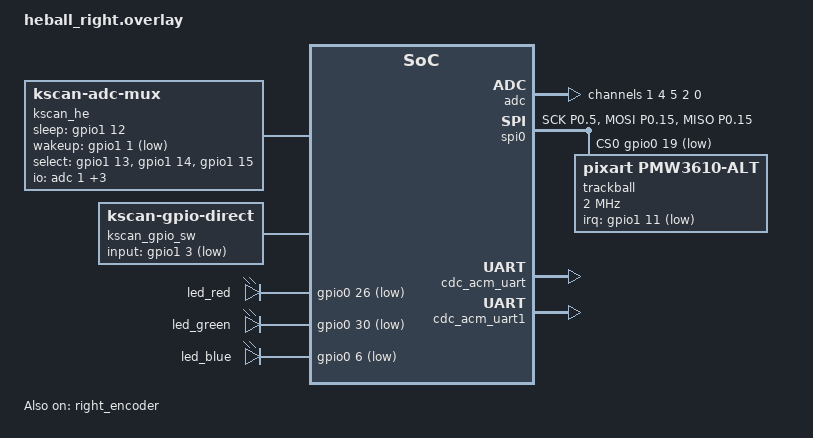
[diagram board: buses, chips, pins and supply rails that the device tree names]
#include "heball.dtsi"
#include <input/processors.dtsi>
#include <dt-bindings/zmk/input_transform.h>
#include <input/processors/runtime-input-processor.dtsi>
#include <behaviors/battery_history_request.dtsi>

/* Right side col-offset: local col 0-24 → global col 28-52 */
&default_transform {
    col-offset = <28>;
};

/* Enable ADC and define channels */
&adc {
    #address-cells = <1>;
    #size-cells = <0>;
    status = "okay";

    /* AM5: MUX_OUT_1: D1 = P0.03 = AIN1 */
    channel@1 {
        reg = <1>;
        zephyr,gain = "ADC_GAIN_1_6";
        zephyr,reference = "ADC_REF_INTERNAL";
        zephyr,acquisition-time = <ADC_ACQ_TIME_DEFAULT>;
        zephyr,input-positive = <NRF_SAADC_AIN1>;
        zephyr,resolution = <12>;
    };

    /* AM6: MUX_OUT_2: D2 = P0.28 = AIN4 */
    channel@4 {
        reg = <4>;
        zephyr,gain = "ADC_GAIN_1_6";
        zephyr,reference = "ADC_REF_INTERNAL";
        zephyr,acquisition-time = <ADC_ACQ_TIME_DEFAULT>;
        zephyr,input-positive = <NRF_SAADC_AIN4>;
        zephyr,resolution = <12>;
    };

    /* AM7: MUX_OUT_3: D3 = P0.29 = AIN5 */
    channel@5 {
        reg = <5>;
        zephyr,gain = "ADC_GAIN_1_6";
        zephyr,reference = "ADC_REF_INTERNAL";
        zephyr,acquisition-time = <ADC_ACQ_TIME_DEFAULT>;
        zephyr,input-positive = <NRF_SAADC_AIN5>;
        zephyr,resolution = <12>;
    };

    /* AM8: MUX_OUT_4: P0.04 = AIN2 */
    channel@2 {
        reg = <2>;
        zephyr,gain = "ADC_GAIN_1_6";
        zephyr,reference = "ADC_REF_INTERNAL";
        zephyr,acquisition-time = <ADC_ACQ_TIME_DEFAULT>;
        zephyr,input-positive = <NRF_SAADC_AIN2>;
        zephyr,resolution = <12>;
    };

    /* Battery voltage monitoring: P0.02 = AIN0 */
    channel@0 {
        reg = <0>;
        zephyr,gain = "ADC_GAIN_1_6";
        zephyr,reference = "ADC_REF_INTERNAL";
        zephyr,acquisition-time = <ADC_ACQ_TIME_DEFAULT>;
        zephyr,input-positive = <NRF_SAADC_AIN0>;
        zephyr,resolution = <12>;
    };
};

/ {
    chosen {
        zephyr,console = &cdc_acm_uart;
    };

    kscan_he: kscan_he {
        compatible = "zmk,kscan-adc-mux";
        status = "okay";

        /* SC4823 sleep/wakeup control */
        sleep-gpios = <&gpio1 12 GPIO_ACTIVE_HIGH>;   /* P1.12 → HE_SLEEP */
        wakeup-gpios = <&gpio1 1 GPIO_ACTIVE_LOW>;    /* P1.01 → HE_AWAKE */

        /* MUX select lines: D8=P1.13(S0), D9=P1.14(S1), D10=P1.15(S2) */
        select-gpios = <&gpio1 13 GPIO_ACTIVE_HIGH>,
                       <&gpio1 14 GPIO_ACTIVE_HIGH>,
                       <&gpio1 15 GPIO_ACTIVE_HIGH>;

        /* ADC inputs: AIN1(AM5), AIN4(AM6), AIN5(AM7), AIN2(AM8) */
        io-channels = <&adc 1>, <&adc 4>, <&adc 5>, <&adc 2>;

        num-keys = <24>;
        scan-period-ms = <8>;
        idle-scan-period-ms = <40>;
        idle-enter-ms = <300>;
        idle-wakeup-delta = <30>;
        settle-us = <20>;
        invert-adc;
        press-threshold = <60>;
        release-threshold = <30>;
        debounce-ms = <5>;
        initial-adc-range = <300>;
        calibration-duration-ms = <500>;

        /*
         * mux_map: 8 addresses x 4 ADC channels = 32 entries
         * value = local key index (0-23), 0xFF = unconnected (GND)
         * HE28=0, HE29=1, ..., HE51=23
         *
         * addr  AM5(adc0)  AM6(adc1)  AM7(adc2)  AM8(adc3)
         *  0    HE30→ 2   HE36→ 8   HE43→15   GND→0xFF
         *  1    HE29→ 1   HE35→ 7   HE42→14   HE49→21
         *  2    HE28→ 0   HE34→ 6   HE41→13   HE48→20
         *  3    GND→0xFF  HE37→ 9   HE44→16   GND→0xFF
         *  4    HE31→ 3   HE38→10   HE45→17   GND→0xFF
         *  5    GND→0xFF  GND→0xFF  GND→0xFF  GND→0xFF
         *  6    HE32→ 4   HE39→11   HE46→18   HE50→22
         *  7    HE33→ 5   HE40→12   HE47→19   HE51→23
         */
        mux_map = <
             2    8   15 0xFF     /* addr0: AM8=GND */
             1    7   14   21     /* addr1: AM8=HE49 */
             0    6   13   20     /* addr2: AM8=HE48 */
          0xFF    9   16 0xFF     /* addr3: AM8=GND */
             3   10   17 0xFF     /* addr4: AM8=GND */
          0xFF 0xFF 0xFF 0xFF     /* addr5: all GND */
             4   11   18   22     /* addr6: AM8=HE50 */
             5   12   19   23     /* addr7: AM8=HE51 */
        >;
    };

    trackball_listener: trackball_listener {
        compatible = "zmk,input-listener";
        status = "disabled";
    };

    /* Encoder push button SW_R on P1.03 (active-low, internal pull-up) */
    kscan_gpio_sw: kscan_gpio_sw {
        compatible = "zmk,kscan-gpio-direct";
        input-gpios = <&gpio1 3 (GPIO_ACTIVE_LOW | GPIO_PULL_UP)>;
        wakeup-source;
    };

    /* Composite kscan: HE keys (col 0-23) + SW_R push button (col 24) */
    kscan_composite: kscan_composite {
        compatible = "zmk,kscan-composite";
        rows = <1>;
        columns = <25>;

        he {
            kscan = <&kscan_he>;
        };

        sw {
            kscan = <&kscan_gpio_sw>;
            col-offset = <24>;
        };
    };
};

/* Disable serial and i2c to free up pins */
&uart0 { status = "disabled"; };
&i2c0 { status = "disabled"; };

/ {
    /* Define aliases for RGB LED widget */
    aliases {
        led-red = &led_red;
        led-green = &led_green;
        led-blue = &led_blue;
        heball-data-uart = &cdc_acm_uart1;
    };

    /* XIAO nRF52840 User LEDs are active-low */
    leds {
        compatible = "gpio-leds";
        led_red: led_red {
            gpios = <&gpio0 26 GPIO_ACTIVE_LOW>;
        };
        led_green: led_green {
            gpios = <&gpio0 30 GPIO_ACTIVE_LOW>;
        };
        led_blue: led_blue {
            gpios = <&gpio0 6 GPIO_ACTIVE_LOW>;
        };
    };
};

/* Enable right encoder (A/B swapped to reverse scroll direction) */
&right_encoder {
    status = "okay";
    a-gpios = <&gpio1 7 (GPIO_ACTIVE_HIGH | GPIO_PULL_UP)>;
    b-gpios = <&gpio1 5 (GPIO_ACTIVE_HIGH | GPIO_PULL_UP)>;
};

/* SPI for PAW3222 trackball */
&pinctrl {
    spi0_default: spi0_default {
        group1 {
            psels = <NRF_PSEL(SPIM_SCK, 0, 5)>,
                    <NRF_PSEL(SPIM_MOSI, 0, 15)>,
                    <NRF_PSEL(SPIM_MISO, 0, 15)>;
        };
    };

    spi0_sleep: spi0_sleep {
        group1 {
            psels = <NRF_PSEL(SPIM_SCK, 0, 5)>,
                    <NRF_PSEL(SPIM_MOSI, 0, 15)>,
                    <NRF_PSEL(SPIM_MISO, 0, 15)>;
            low-power-enable;
        };
    };
};

&spi0 {
    status = "okay";
    compatible = "nordic,nrf-spim";
    pinctrl-0 = <&spi0_default>;
    pinctrl-1 = <&spi0_sleep>;
    pinctrl-names = "default", "sleep";
    cs-gpios = <&gpio0 19 GPIO_ACTIVE_LOW>; /* P0.19 */

    trackball: trackball@0 {
        status = "okay";
        compatible = "pixart,pmw3610-alt";
        reg = <0>;
        spi-max-frequency = <2000000>;
        irq-gpios = <&gpio1 11 (GPIO_ACTIVE_LOW | GPIO_PULL_UP)>; /* P1.11 */
        evt-type = <2>;      /* INPUT_EV_REL */
        x-input-code = <0>;  /* INPUT_REL_X */
        y-input-code = <1>;  /* INPUT_REL_Y */
        cpi = <800>;
        force-awake;
        wakeup-source;
    };
};

&zephyr_udc0 {
    cdc_acm_uart: cdc_acm_uart {
        compatible = "zephyr,cdc-acm-uart";
    };
};

/* Second CDC ACM for configuration data (HEball Config port) */
&zephyr_udc0 {
    cdc_acm_uart1: cdc_acm_uart1 {
        compatible = "zephyr,cdc-acm-uart";
    };
};

&trackball_listener {
    status = "okay";
    device = <&trackball>;
    input-processors = <&zip_xy_transform INPUT_TRANSFORM_Y_INVERT>,
                       <&mouse_runtime_input_processor>,
                       <&zip_temp_layer 1 500>;

    scroller {
        layers = <5>;
        input-processors = <&zip_xy_to_scroll_mapper>,
                           <&scroll_runtime_input_processor>,
                           <&zip_scroll_scaler 2 5>;
    };
};
